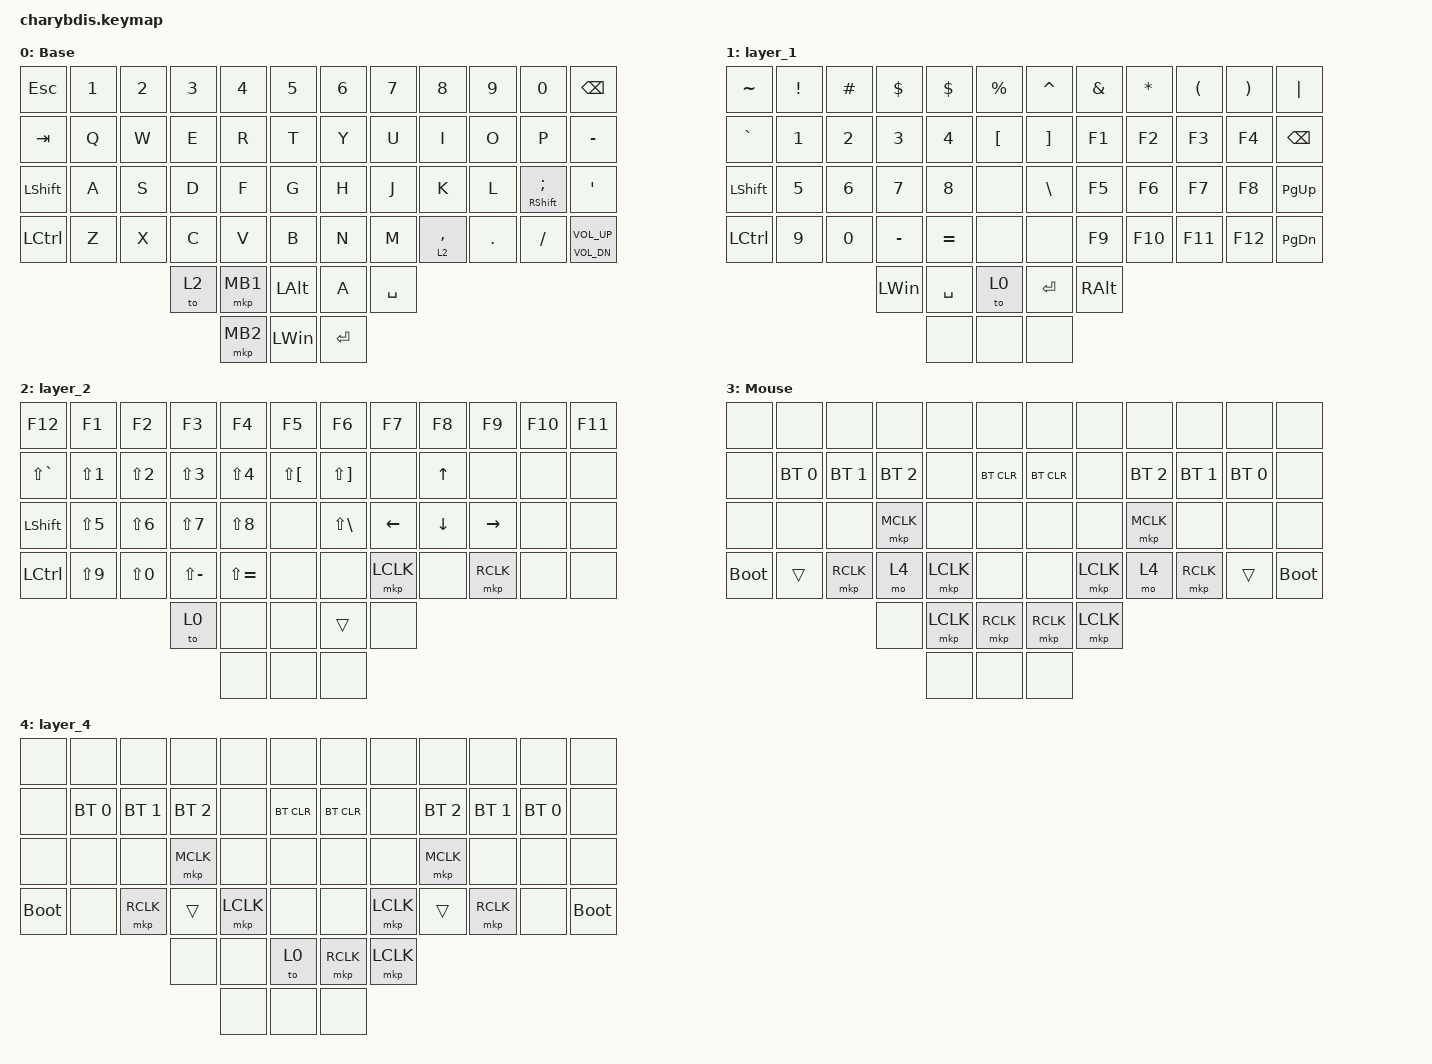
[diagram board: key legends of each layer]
#include <dt-bindings/zmk/mouse.h>
#include <behaviors.dtsi>
#include <dt-bindings/zmk/bt.h>
#include <dt-bindings/zmk/keys.h>
#include <dt-bindings/zmk/pointing.h>

&lt {
    tapping-term-ms = <200>;
    flavor = "balanced";
    quick-tap-ms = <150>;
};

/ {
    combos { compatible = "zmk,combos"; };

    keymap {
        compatible = "zmk,keymap";

        Base {
            bindings = <
&kp ESCAPE      &kp N1  &kp N2  &kp N3  &kp N4    &kp N5          &kp N6     &kp N7     &kp N8       &kp N9   &kp N0                &kp BACKSPACE
&kp TAB         &kp Q   &kp W   &kp E   &kp R     &kp T           &kp Y      &kp U      &kp I        &kp O    &kp P                 &kp MINUS
&kp LEFT_SHIFT  &kp A   &kp S   &kp D   &kp F     &kp G           &kp H      &kp J      &kp K        &kp L    &mt RIGHT_SHIFT SEMI  &kp APOS
&kp LCTRL       &kp Z   &kp X   &kp C   &kp V     &kp B           &kp N      &kp M      &lt 2 COMMA  &kp DOT  &kp SLASH             &mt C_VOL_DN C_VOLUME_UP
                                &to 2   &mkp MB1  &kp LEFT_ALT    &kp A      &kp SPACE
                                        &mkp MB2  &kp LEFT_WIN    &kp ENTER
            >;
        };

        layer_1 {
            bindings = <
&kp TILDE  &kp EXCLAMATION  &kp HASH      &kp DOLLAR    &kp DOLLAR    &kp PERCENT    &kp CARET      &kp AMPERSAND  &kp ASTERISK  &kp LEFT_PARENTHESIS  &kp RIGHT_PARENTHESIS  &kp PIPE
&kp GRAVE  &kp NUMBER_1     &kp NUMBER_2  &kp NUMBER_3  &kp NUMBER_4  &kp LBKT       &kp RBKT       &kp F1         &kp F2        &kp F3                &kp F4                 &kp BACKSPACE
&kp LSHFT  &kp NUMBER_5     &kp NUMBER_6  &kp NUMBER_7  &kp NUMBER_8  &none          &kp BACKSLASH  &kp F5         &kp F6        &kp F7                &kp F8                 &kp PAGE_UP
&kp LCTRL  &kp NUMBER_9     &kp NUMBER_0  &kp MINUS     &kp EQUAL     &none          &none          &kp F9         &kp F10       &kp F11               &kp F12                &kp PAGE_DOWN
                                          &kp LEFT_WIN  &kp SPACE     &to 0          &kp ENTER      &kp RIGHT_ALT
                                                        &none         &none          &none
            >;
        };

        layer_2 {
            bindings = <
&kp F12        &kp F1      &kp F2      &kp F3         &kp F4         &kp F5          &kp F6             &kp F7     &kp F8        &kp F9     &kp F10  &kp F11
&kp LS(GRAVE)  &kp LS(N1)  &kp LS(N2)  &kp LS(N3)     &kp LS(N4)     &kp LS(LBKT)    &kp LS(RBKT)       &none      &kp UP_ARROW  &none      &none    &none
&kp LSHFT      &kp LS(N5)  &kp LS(N6)  &kp LS(N7)     &kp LS(N8)     &none           &kp LS(BACKSLASH)  &kp LEFT   &kp DOWN      &kp RIGHT  &none    &none
&kp LCTRL      &kp LS(N9)  &kp LS(N0)  &kp LS(MINUS)  &kp LS(EQUAL)  &none           &none              &mkp LCLK  &none         &mkp RCLK  &none    &none
                                       &to 0          &none          &none           &trans             &none
                                                      &none          &none           &none
            >;
        };

        Mouse {
            bindings = <
&none        &none         &none         &none         &none      &none         &none       &none      &none         &none         &none         &none
&none        &bt BT_SEL 0  &bt BT_SEL 1  &bt BT_SEL 2  &none      &bt BT_CLR    &bt BT_CLR  &none      &bt BT_SEL 2  &bt BT_SEL 1  &bt BT_SEL 0  &none
&none        &none         &none         &mkp MCLK     &none      &none         &none       &none      &mkp MCLK     &none         &none         &none
&bootloader  &trans        &mkp RCLK     &mo 4         &mkp LCLK  &none         &none       &mkp LCLK  &mo 4         &mkp RCLK     &trans        &bootloader
                                         &none         &mkp LCLK  &mkp RCLK     &mkp RCLK   &mkp LCLK
                                                       &none      &none         &none
            >;
        };

        layer_4 {
            bindings = <
&none        &none         &none         &none         &none      &none         &none       &none      &none         &none         &none         &none
&none        &bt BT_SEL 0  &bt BT_SEL 1  &bt BT_SEL 2  &none      &bt BT_CLR    &bt BT_CLR  &none      &bt BT_SEL 2  &bt BT_SEL 1  &bt BT_SEL 0  &none
&none        &none         &none         &mkp MCLK     &none      &none         &none       &none      &mkp MCLK     &none         &none         &none
&bootloader  &none         &mkp RCLK     &trans        &mkp LCLK  &none         &none       &mkp LCLK  &trans        &mkp RCLK     &none         &bootloader
                                         &none         &none      &to 0         &mkp RCLK   &mkp LCLK
                                                       &none      &none         &none
            >;
        };
    };
};
